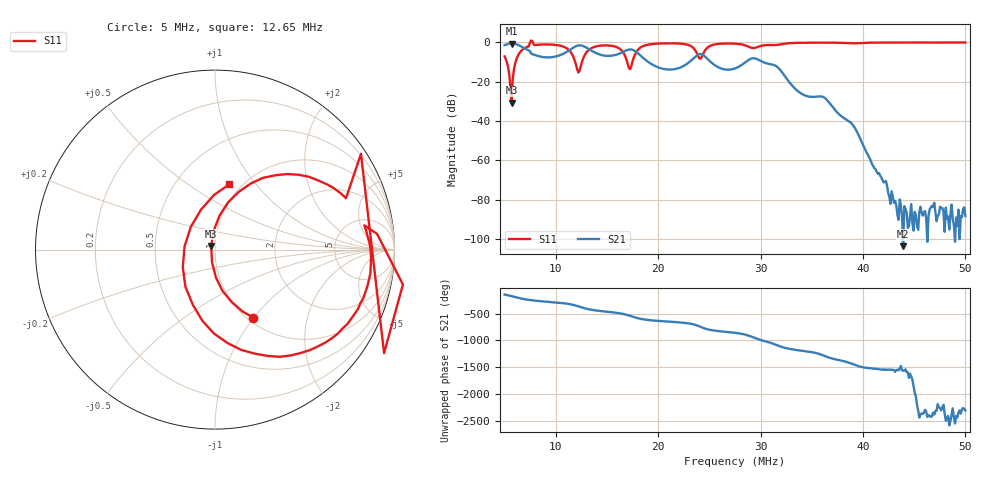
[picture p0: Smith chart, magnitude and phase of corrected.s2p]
! S11/S21 only; reverse parameters are placeholders. Device calibration unverified.
! [Saver CAL applied] C:\Users\aknya\MyProjects\rf-simulator\calibration2.cal | Ideal standards assumed | Input: NanoVNA F V2 profile | COM3 | 2026-09-08T12:21:21.4152544-04:00 | device calibration unverified
# HZ S RI R 50
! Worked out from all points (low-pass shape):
!   401 points, 5 MHz to 50 MHz, reference 50 ohm
!   highest |S21| = -0.69 dB at 5.675 MHz (marker M1); lowest = -103.5 dB at 43.92 MHz (marker M2)
!   |S21| within 3 dB of the highest: start of sweep to 7.159 MHz; 11.45 MHz to 13.28 MHz (1.834 MHz wide, 14.8 % of centre)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
!   lowest |S11| = -30.7 dB at 5.675 MHz (marker M3), VSWR 1.06, Z = 47.9 + j1.92 ohm
!   |S11| at or under -10 dB: 5.208 MHz to 6.079 MHz (871 kHz wide, 15.4 % of centre); 11.89 MHz to 12.56 MHz (672.7 kHz wide, 5.5 % of centre); 16.96 MHz to 17.48 MHz (519.3 kHz wide, 3.01 % of centre)
!   S12 and S22 are empty: the file has one direction only
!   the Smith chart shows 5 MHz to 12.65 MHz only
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5000000  0.2134 -0.3785  -0.6896 -0.4838  0 0  0 0
5675000  -0.0211 0.02  -0.9213 -0.0707  0 0  0 0
6687500  0.4656 0.4171  -0.5608 0.5146  0 0  0 0
7812500  0.9028 0.0876  -0.1203 0.4717  0 0  0 0
1.11875e7  0.2933 -0.5926  0.4376 0.3971  0 0  0 0
1.25375e7  -0.00486 0.305  0.7406 -0.3463  0 0  0 0
1.355e7  0.6477 0.3104  0.1943 -0.5621  0 0  0 0
1.47875e7  0.8191 -0.1147  -0.0882 -0.4455  0 0  0 0
1.63625e7  0.3398 -0.5434  -0.3975 -0.3521  0 0  0 0
1.715e7  -0.1975 -0.0874  -0.6467 -0.0563  0 0  0 0
1.805e7  0.3677 0.5376  -0.3427 0.3826  0 0  0 0
2.0075e7  0.9211 0.0439  0.0277 0.2235  0 0  0 0
2.39e7  0.3472 -0.2751  0.4758 -0.0712  0 0  0 0
2.46875e7  0.6745 0.036  0.1623 -0.3712  0 0  0 0
2.75e7  0.8017 -0.4413  -0.16 -0.1437  0 0  0 0
2.975e7  0.6836 -0.3385  -0.085 0.3521  0 0  0 0
3.1325e7  0.7238 -0.4349  0.2568 0.0531  0 0  0 0
3.50375e7  0.7001 -0.6696  -0.0312 -0.0265  0 0  0 0
3.8975e7  0.5316 -0.7634  0.00813 7.91e-05  0 0  0 0
4.2575e7  0.4432 -0.8713  -3.33e-05 -0.000114  0 0  0 0
4.3925e7  0.3895 -0.8973  -3.91e-06 -5.43e-06  0 0  0 0
5e7  0.1565 -0.9675  -3.25e-05 -2.12e-05  0 0  0 0
